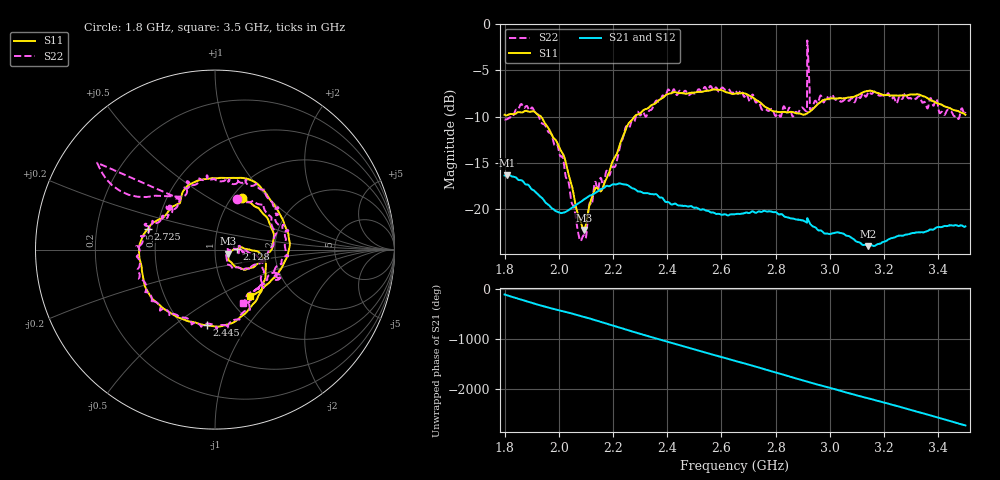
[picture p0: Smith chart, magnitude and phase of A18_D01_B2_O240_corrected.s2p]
! Created with skrf 1.9.0 (http://scikit-rf.org).
# Hz S RI R 50.0
!freq ReS11 ImS11 ReS21 ImS21 ReS12 ImS12 ReS22 ImS22
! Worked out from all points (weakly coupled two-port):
!   1601 points, 1.8 GHz to 3.5 GHz, reference 50 ohm
!   highest |S21| = -16.30 dB at 1.81 GHz (marker M1); lowest = -24.0 dB at 3.142 GHz (marker M2)
!   lowest |S11| = -22.2 dB at 2.092 GHz (marker M3), VSWR 1.17, Z = 57.9 - j2.72 ohm
!   |S11| at or under -10 dB: 1.935 GHz to 2.279 GHz (343.9 MHz wide, 16.3 % of centre)
!   |S22| runs from -23.4 to -1.8 dB; largest |S21 - S12| = 0.0029
!   S11 on the Smith chart (normalised r, x): 1.8 GHz: 1.12, +0.71; 2.128 GHz: 1.28, +0.00; 2.445 GHz: 0.65, -0.67; 2.725 GHz: 0.44, +0.12; 3.5 GHz: 1.25, -0.72
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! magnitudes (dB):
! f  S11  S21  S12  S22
! 1.8 GHz  -9.8  -16.3  -16.3  -10.3
! 1.81 GHz  -9.8  -16.3  -16.3  -10.3
! 1.901 GHz  -9.4  -17.8  -17.8  -9.0
! 1.969 GHz  -11.7  -19.7  -19.7  -11.7
! 2.02 GHz  -14.3  -20.3  -20.3  -15.3
! 2.084 GHz  -21.6  -19.1  -19.1  -23.2
! 2.092 GHz  -22.2  -18.9  -19.0  -22.8
! 2.128 GHz  -18.2  -18.3  -18.3  -18.0
! 2.208 GHz  -14.3  -17.3  -17.3  -15.4
! 2.259 GHz  -10.6  -17.5  -17.5  -11.2
! 2.367 GHz  -8.3  -18.6  -18.5  -8.4
! 2.445 GHz  -7.4  -19.6  -19.6  -7.2
! 2.65 GHz  -7.5  -20.5  -20.5  -7.2
! 2.725 GHz  -8.1  -20.4  -20.3  -8.4
! 2.867 GHz  -9.5  -21.0  -21.0  -9.8
! 2.907 GHz  -9.8  -21.3  -21.2  -9.3
! 2.916 GHz  -9.6  -21.4  -21.4  -9.4
! 2.925 GHz  -9.5  -21.4  -21.4  -7.0
! 2.934 GHz  -9.3  -21.7  -21.7  -9.2
! 3.142 GHz  -7.2  -24.0  -23.9  -7.3
! 3.217 GHz  -7.7  -23.2  -23.2  -7.5
! 3.5 GHz  -9.8  -21.8  -21.8  -9.5
